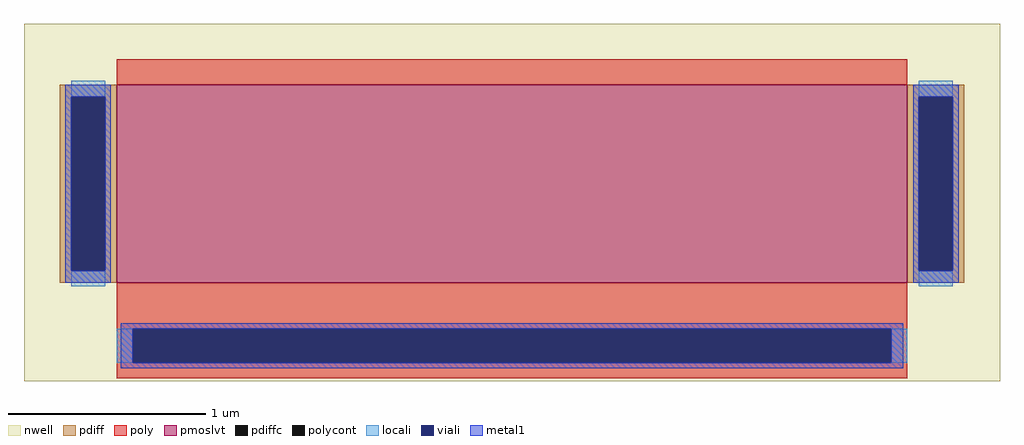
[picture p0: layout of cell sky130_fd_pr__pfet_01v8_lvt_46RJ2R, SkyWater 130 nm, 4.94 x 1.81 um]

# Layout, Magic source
magic
tech sky130A
magscale 1 2
<< nwell >>
rect -494 -164 494 198
<< pmoslvt >>
rect -400 -64 400 136
<< pdiff >>
rect -458 124 -400 136
rect -458 -52 -446 124
rect -412 -52 -400 124
rect -458 -64 -400 -52
rect 400 124 458 136
rect 400 -52 412 124
rect 446 -52 458 124
rect 400 -64 458 -52
<< pdiffc >>
rect -446 -52 -412 124
rect 412 -52 446 124
<< poly >>
rect -400 136 400 162
rect -400 -111 400 -64
rect -400 -145 -384 -111
rect 384 -145 400 -111
rect -400 -161 400 -145
<< polycont >>
rect -384 -145 384 -111
<< locali >>
rect -446 124 -412 140
rect -446 -68 -412 -52
rect 412 124 446 140
rect 412 -68 446 -52
rect -400 -145 -384 -111
rect 384 -145 400 -111
<< viali >>
rect -446 -52 -412 124
rect 412 -52 446 124
rect -384 -145 384 -111
<< metal1 >>
rect -452 124 -406 136
rect -452 -52 -446 124
rect -412 -52 -406 124
rect -452 -64 -406 -52
rect 406 124 452 136
rect 406 -52 412 124
rect 446 -52 452 124
rect 406 -64 452 -52
rect -396 -111 396 -105
rect -396 -145 -384 -111
rect 384 -145 396 -111
rect -396 -151 396 -145
<< properties >>
string gencell sky130_fd_pr__pfet_01v8_lvt
string library sky130
string parameters w 1 l 4 m 1 nf 1 diffcov 100 polycov 100 guard 0 glc 0 grc 0 gtc 0 gbc 0 tbcov 100 rlcov 100 topc 0 botc 1 poverlap 0 doverlap 1 lmin 0.35 wmin 0.42 compatible {sky130_fd_pr__pfet_01v8  sky130_fd_pr__pfet_01v8_lvt sky130_fd_pr__pfet_01v8_hvt  sky130_fd_pr__pfet_g5v0d10v5} full_metal 0 viasrc 100 viadrn 100 viagate 100 viagb 0 viagr 0 viagl 0 viagt 0
<< end >>
